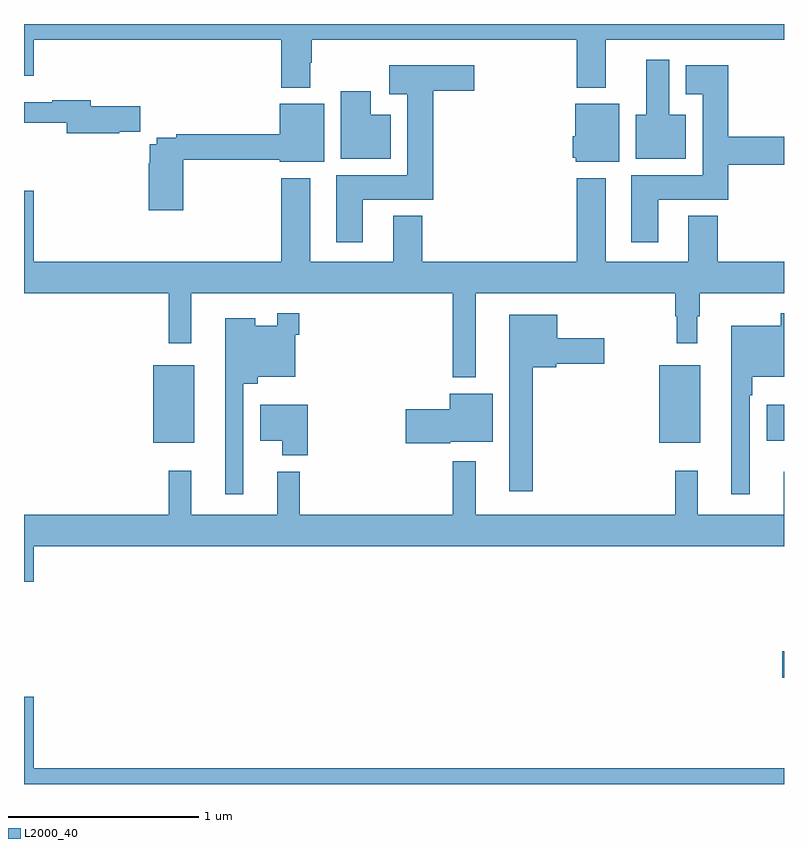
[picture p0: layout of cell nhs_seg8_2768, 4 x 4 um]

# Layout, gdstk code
import gdstk
lib = gdstk.Library(unit=1e-6, precision=1e-09)
def R(c, l, rs):  # rectangles x0, y0, x1, y1
    for r in rs: c.add(gdstk.rectangle(r[:2], r[2:], *l))
def P(c, l, *ps):  # polygons
    for p in ps: c.add(gdstk.Polygon(p, *l))
L2000_40 = (2000, 40)

nhs_seg8_2768 = lib.new_cell('nhs_seg8_2768')
R(nhs_seg8_2768, L2000_40, [(288.99,1130.458,289,1130.6), (285.68,1131.695,285.895,1132.105), (288.344,1131.695,288.559,1132.105), (288.908,1131.707,289,1131.895)])
P(nhs_seg8_2768, L2000_40, [(286.507,1133.696),(286.515,1133.696),(286.515,1133.816),(287.909,1133.816),(287.909,1133.564),(288.061,1133.564),(288.061,1133.816),(289,1133.816),(289,1133.9),(285,1133.9),(285,1133.628),(285.052,1133.628),(285.052,1133.816),(286.355,1133.816),(286.355,1133.564),(286.507,1133.564)],
  [(288.484,1133.422),(288.397,1133.422),(288.397,1133.713),(288.275,1133.713),(288.275,1133.422),(288.221,1133.422),(288.221,1133.192),(288.484,1133.192)],
  [(288.337,1132.976),(288.707,1132.976),(288.707,1133.159),(289,1133.159),(289,1133.306),(288.707,1133.306),(288.707,1133.683),(288.482,1133.683),(288.482,1133.531),(288.572,1133.531),(288.572,1133.104),(288.197,1133.104),(288.197,1132.752),(288.337,1132.752)],
  [(286.783,1132.976),(287.153,1132.976),(287.153,1133.549),(287.371,1133.549),(287.371,1133.683),(286.923,1133.683),(286.923,1133.531),(287.018,1133.531),(287.018,1133.104),(286.643,1133.104),(286.643,1132.752),(286.783,1132.752)],
  [(286.93,1133.422),(286.825,1133.422),(286.825,1133.545),(286.667,1133.545),(286.667,1133.192),(286.93,1133.192)],
  [(285.5,1133.332),(285.613,1133.332),(285.613,1133.466),(285.352,1133.466),(285.352,1133.5),(285.148,1133.5),(285.148,1133.488),(285,1133.488),(285,1133.379),(285.224,1133.379),(285.224,1133.324),(285.5,1133.324)],
  [(288.133,1133.479),(287.9,1133.479),(287.9,1133.31),(287.888,1133.31),(287.888,1133.196),(287.904,1133.196),(287.904,1133.174),(288.133,1133.174)],
  [(285.839,1133.185),(286.346,1133.185),(286.346,1133.174),(286.579,1133.174),(286.579,1133.479),(286.346,1133.479),(286.346,1133.321),(285.802,1133.321),(285.802,1133.301),(285.698,1133.301),(285.698,1133.268),(285.662,1133.268),(285.662,1133.168),(285.656,1133.168),(285.656,1132.92),(285.839,1132.92)],
  [(287.377,1132.484),(288.427,1132.484),(288.427,1132.361),(288.435,1132.361),(288.435,1132.221),(288.544,1132.221),(288.544,1132.361),(288.556,1132.361),(288.556,1132.484),(289,1132.484),(289,1132.648),(288.65,1132.648),(288.65,1132.891),(288.497,1132.891),(288.497,1132.648),(288.061,1132.648),(288.061,1133.089),(287.909,1133.089),(287.909,1132.648),(287.096,1132.648),(287.096,1132.891),(286.943,1132.891),(286.943,1132.648),(286.507,1132.648),(286.507,1133.089),(286.355,1133.089),(286.355,1132.648),(285.052,1132.648),(285.052,1133.023),(285,1133.023),(285,1132.484),(285.763,1132.484),(285.763,1132.221),(285.88,1132.221),(285.88,1132.484),(287.256,1132.484),(287.256,1132.04),(287.377,1132.04)],
  [(286.155,1132.007),(286.229,1132.007),(286.229,1132.043),(286.428,1132.043),(286.428,1132.265),(286.448,1132.265),(286.448,1132.378),(286.332,1132.378),(286.332,1132.312),(286.216,1132.312),(286.216,1132.351),(286.058,1132.351),(286.058,1131.426),(286.155,1131.426)],
  [(288.819,1131.947),(288.832,1131.947),(288.832,1132.043),(289,1132.043),(289,1132.378),(288.984,1132.378),(288.984,1132.312),(288.722,1132.312),(288.722,1131.426),(288.819,1131.426)],
  [(287.677,1132.094),(287.802,1132.094),(287.802,1132.112),(288.055,1132.112),(288.055,1132.246),(287.806,1132.246),(287.806,1132.369),(287.555,1132.369),(287.555,1131.441),(287.677,1131.441)],
  [(287.244,1131.701),(287.467,1131.701),(287.467,1131.955),(287.24,1131.955),(287.24,1131.872),(287.01,1131.872),(287.01,1131.694),(287.244,1131.694)],
  [(286.493,1131.895),(286.244,1131.895),(286.244,1131.707),(286.358,1131.707),(286.358,1131.629),(286.493,1131.629)],
  [(289,1131.544),(288.998,1131.544),(288.998,1131.316),(288.545,1131.316),(288.545,1131.55),(288.427,1131.55),(288.427,1131.316),(287.377,1131.316),(287.377,1131.598),(287.256,1131.598),(287.256,1131.316),(286.451,1131.316),(286.451,1131.544),(286.334,1131.544),(286.334,1131.316),(285.881,1131.316),(285.881,1131.55),(285.763,1131.55),(285.763,1131.316),(285,1131.316),(285,1130.964),(285.052,1130.964),(285.052,1131.152),(289,1131.152)],
  [(289,1129.984),(285.052,1129.984),(285.052,1130.359),(285,1130.359),(285,1129.9),(289,1129.9)])

lib.write_gds('nhs_seg8_2768.gds')
